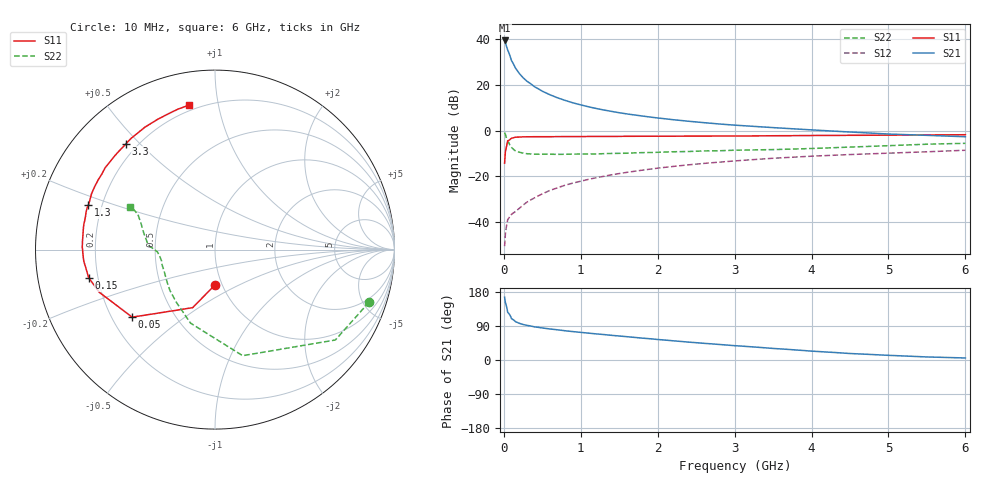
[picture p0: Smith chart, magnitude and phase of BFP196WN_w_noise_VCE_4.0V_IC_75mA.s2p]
! Infineon Technologies  Discrete & RF Semiconductors
! BFP196WN
! VCE =  4.0 V,  IC =  75 mA
! Common Emitter S-Parameters:  Jan 2017
# GHz  S  MA  R  50
!  f  S11  S21  S12  S22
! GHz  MAG  ANG  MAG  ANG  MAG  ANG  MAG  ANG
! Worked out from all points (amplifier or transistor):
!   77 points, 10 MHz to 6 GHz, reference 50 ohm
!   highest |S21| = 39.4 dB at 10 MHz (marker M1)
!   |S21| within 3 dB of that: start of sweep to 38.49 MHz
!   unconditionally stable (mu >= 1): 504.8 MHz to 2.661 GHz
!   at 130 MHz: K = 0.66, MSG = 32.3 dB, |S12| = -35.8 dB
!   at 2.2 GHz: K = 1.02, MAG = 9.4 dB, |S12| = -15.6 dB
!   at 6 GHz: K = 0.92, MSG = 3.0 dB, |S12| = -8.5 dB
!   lowest NFmin = 1.53 dB at 450 MHz
!   S11 on the Smith chart (normalised r, x): 10 MHz: 0.93, -0.38; 50 MHz: 0.28, -0.33; 150 MHz: 0.16, -0.11; 1.3 GHz: 0.15, +0.17; 3.3 GHz: 0.16, +0.46; 6 GHz: 0.17, +0.82
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0.01  0.1957 -89.8  93.76 165.7  0.003 77.6  0.9073 -18.8
0.02  0.3464 -111.0  83.84 151.8  0.0055 69.1  0.8386 -36.9
0.05  0.5955 -140.8  58.22 126.1  0.0113 53.8  0.6108 -75.4
0.1  0.6869 -159.7  33.9 109.0  0.0149 51.5  0.4318 -108.4
0.15  0.7209 -167.4  23.57 101.4  0.0171 53.5  0.3635 -126.5
0.2  0.727 -172.0  17.88 96.9  0.0201 59.6  0.3391 -137.7
0.25  0.7341 -175.0  14.4 93.7  0.0237 62.0  0.3247 -144.7
0.3  0.7358 -177.6  12.07 91.4  0.0275 64.7  0.3144 -150.7
0.4  0.7396 178.9  9.111 87.4  0.0342 67.0  0.3077 -157.3
0.5  0.7399 176.0  7.297 84.5  0.0417 69.2  0.3067 -162.2
0.6  0.7402 173.7  6.096 81.9  0.0497 70.2  0.3063 -165.7
0.7  0.7421 171.6  5.22 79.6  0.0567 71.0  0.3044 -168.1
0.9  0.7436 167.3  4.058 74.9  0.0718 70.9  0.3077 -171.2
1.1  0.748 163.9  3.335 70.9  0.0866 70.3  0.3101 -174.1
1.3  0.7478 160.5  2.833 67.2  0.1009 69.4  0.3151 -175.4
1.6  0.7549 155.7  2.327 61.5  0.1231 67.5  0.322 -177.9
2.1  0.7579 147.8  1.819 52.5  0.1588 63.6  0.3421 179.4
3.1  0.767 133.0  1.291 36.5  0.2247 54.9  0.3774 174.7
3.3  0.7705 130.0  1.228 33.6  0.2372 53.2  0.3819 173.3
4.1  0.7865 118.7  1.02 22.2  0.2821 46.1  0.414 165.3
5.1  0.8018 108.0  0.835 11.5  0.3276 38.4  0.478 155.2
6  0.8172 100.3  0.738 5.3  0.3741 32.3  0.53 153.1
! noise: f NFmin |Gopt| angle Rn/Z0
0.45  1.53  0.57  -176  0.05
0.9  1.66  0.59  -169  0.06
1.9  2.6  0.7  -147  0.2
2.4  3.41  0.71  -138  0.33
